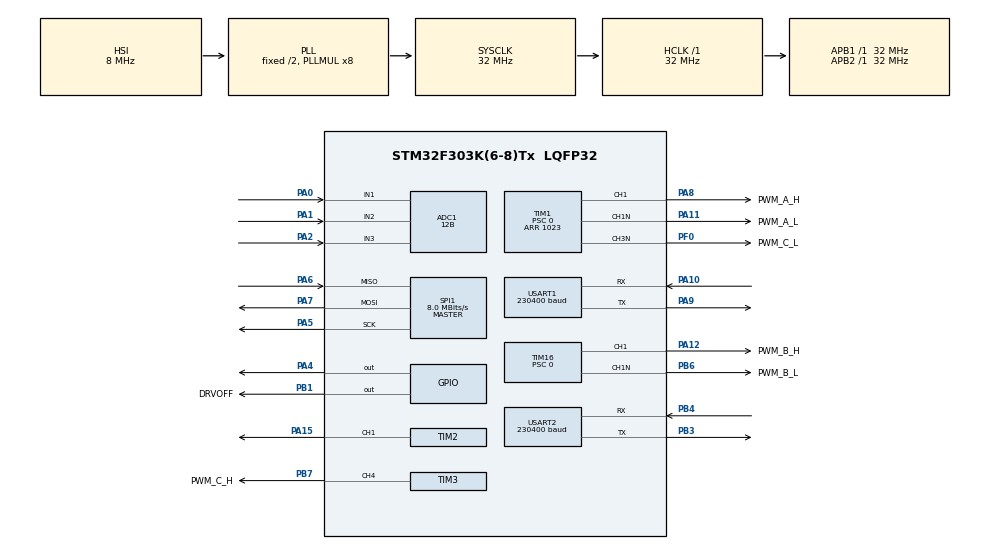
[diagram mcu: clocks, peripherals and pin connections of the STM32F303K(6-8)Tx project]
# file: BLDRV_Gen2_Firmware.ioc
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ADC1.Channel-2\#ChannelRegularConversion=ADC_CHANNEL_1
ADC1.Channel-3\#ChannelRegularConversion=ADC_CHANNEL_1
ADC1.Channel-5\#ChannelRegularConversion=ADC_CHANNEL_1
ADC1.ClockPrescaler=ADC_CLOCK_SYNC_PCLK_DIV4
ADC1.ContinuousConvMode=ENABLE
ADC1.DMAContinuousRequests=ENABLE
ADC1.EOCSelection=ADC_EOC_SINGLE_CONV
ADC1.InjNumberOfConversion=0
ADC1.NbrOfConversion=3
ADC1.NbrOfConversionFlag=1
ADC1.Offset-2\#ChannelRegularConversion=0
ADC1.Offset-3\#ChannelRegularConversion=0
ADC1.Offset-5\#ChannelRegularConversion=0
ADC1.OffsetNumber-2\#ChannelRegularConversion=ADC_OFFSET_NONE
ADC1.OffsetNumber-3\#ChannelRegularConversion=ADC_OFFSET_NONE
ADC1.OffsetNumber-5\#ChannelRegularConversion=ADC_OFFSET_NONE
ADC1.Rank-2\#ChannelRegularConversion=1
ADC1.Rank-3\#ChannelRegularConversion=2
ADC1.Rank-5\#ChannelRegularConversion=3
ADC1.Resolution=ADC_RESOLUTION_12B
ADC1.SamplingTime-2\#ChannelRegularConversion=ADC_SAMPLETIME_19CYCLES_5
ADC1.SamplingTime-3\#ChannelRegularConversion=ADC_SAMPLETIME_19CYCLES_5
ADC1.SamplingTime-5\#ChannelRegularConversion=ADC_SAMPLETIME_19CYCLES_5
ADC1.SamplingTimeOPAMP-3\#ChannelRegularConversion=ADC_SAMPLETIME_19CYCLES_5
ADC1.SamplingTimeOPAMP-5\#ChannelRegularConversion=ADC_SAMPLETIME_4CYCLES_5
ADC1.SubFamily=STM32F303x8
ADC1.master=1
Dma.ADC1.2.Direction=DMA_PERIPH_TO_MEMORY
Dma.ADC1.2.Instance=DMA1_Channel1
Dma.ADC1.2.MemDataAlignment=DMA_MDATAALIGN_BYTE
Dma.ADC1.2.MemInc=DMA_MINC_ENABLE
Dma.ADC1.2.Mode=DMA_CIRCULAR
Dma.ADC1.2.PeriphDataAlignment=DMA_PDATAALIGN_BYTE
Dma.ADC1.2.PeriphInc=DMA_PINC_DISABLE
Dma.ADC1.2.Priority=DMA_PRIORITY_LOW
Dma.Request0=USART1_RX
Dma.Request1=USART1_TX
Dma.Request2=ADC1
Dma.Request3=USART2_RX
Dma.Request4=USART2_TX
Dma.USART1_RX.0.Direction=DMA_PERIPH_TO_MEMORY
Dma.USART1_RX.0.Instance=DMA1_Channel5
Dma.USART1_RX.0.MemDataAlignment=DMA_MDATAALIGN_BYTE
Dma.USART1_RX.0.MemInc=DMA_MINC_ENABLE
Dma.USART1_RX.0.Mode=DMA_CIRCULAR
Dma.USART1_RX.0.PeriphDataAlignment=DMA_PDATAALIGN_BYTE
Dma.USART1_RX.0.PeriphInc=DMA_PINC_DISABLE
Dma.USART1_RX.0.Priority=DMA_PRIORITY_HIGH
Dma.USART1_TX.1.Direction=DMA_MEMORY_TO_PERIPH
Dma.USART1_TX.1.Instance=DMA1_Channel4
Dma.USART1_TX.1.MemDataAlignment=DMA_MDATAALIGN_BYTE
Dma.USART1_TX.1.MemInc=DMA_MINC_ENABLE
Dma.USART1_TX.1.Mode=DMA_NORMAL
Dma.USART1_TX.1.PeriphDataAlignment=DMA_PDATAALIGN_BYTE
Dma.USART1_TX.1.PeriphInc=DMA_PINC_DISABLE
Dma.USART1_TX.1.Priority=DMA_PRIORITY_HIGH
Dma.USART2_RX.3.Direction=DMA_PERIPH_TO_MEMORY
Dma.USART2_RX.3.Instance=DMA1_Channel6
Dma.USART2_RX.3.MemDataAlignment=DMA_MDATAALIGN_BYTE
Dma.USART2_RX.3.MemInc=DMA_MINC_ENABLE
Dma.USART2_RX.3.Mode=DMA_CIRCULAR
Dma.USART2_RX.3.PeriphDataAlignment=DMA_PDATAALIGN_BYTE
Dma.USART2_RX.3.PeriphInc=DMA_PINC_DISABLE
Dma.USART2_RX.3.Priority=DMA_PRIORITY_HIGH
Dma.USART2_TX.4.Direction=DMA_MEMORY_TO_PERIPH
Dma.USART2_TX.4.Instance=DMA1_Channel7
Dma.USART2_TX.4.MemDataAlignment=DMA_MDATAALIGN_BYTE
Dma.USART2_TX.4.MemInc=DMA_MINC_ENABLE
Dma.USART2_TX.4.Mode=DMA_NORMAL
Dma.USART2_TX.4.PeriphDataAlignment=DMA_PDATAALIGN_BYTE
Dma.USART2_TX.4.PeriphInc=DMA_PINC_DISABLE
Dma.USART2_TX.4.Priority=DMA_PRIORITY_HIGH
Mcu.Family=STM32F3
Mcu.Name=STM32F303K(6-8)Tx
Mcu.Package=LQFP32
NVIC.DMA1_Channel1_IRQn=true\:0\:0\:false\:false\:true\:false\:true\:true
NVIC.DMA1_Channel4_IRQn=true\:0\:0\:false\:false\:true\:false\:true\:true
NVIC.DMA1_Channel5_IRQn=true\:0\:0\:false\:false\:true\:false\:true\:true
NVIC.DMA1_Channel6_IRQn=true\:0\:0\:false\:false\:true\:false\:true\:true
NVIC.DMA1_Channel7_IRQn=true\:0\:0\:false\:false\:true\:false\:true\:true
NVIC.PriorityGroup=NVIC_PRIORITYGROUP_4
NVIC.TIM2_IRQn=true\:0\:0\:false\:false\:true\:true\:true\:true
NVIC.USART1_IRQn=true\:0\:0\:false\:false\:true\:true\:true\:true
NVIC.USART2_IRQn=true\:0\:0\:false\:false\:true\:true\:true\:true
PA0.Mode=IN1-Single-Ended
PA0.Signal=ADC1_IN1
PA1.Mode=IN2-Single-Ended
PA1.Signal=ADC1_IN2
PA10.Mode=Asynchronous
PA10.Signal=USART1_RX
PA11.GPIO_Label=PWM_A_L
PA11.GPIO_Speed=GPIO_SPEED_FREQ_HIGH
PA11.Mode=PWM Generation1 CH1 CH1N
PA11.Signal=TIM1_CH1N
PA12.GPIO_Label=PWM_B_H
PA12.GPIO_Speed=GPIO_SPEED_FREQ_HIGH
PA12.Signal=S_TIM16_CH1
PA13.GPIO_Label=SWDIO
PA13.Mode=Serial_Wire
PA13.Signal=SYS_JTMS-SWDIO
PA14.GPIO_Label=SWCLK
PA14.Mode=Serial_Wire
PA14.Signal=SYS_JTCK-SWCLK
PA15.Signal=S_TIM2_CH1_ETR
PA2.Mode=IN3-Single-Ended
PA2.Signal=ADC1_IN3
PA4.Signal=GPIO_Output
PA5.Mode=Full_Duplex_Master
PA5.Signal=SPI1_SCK
PA6.Mode=Full_Duplex_Master
PA6.Signal=SPI1_MISO
PA7.Mode=Full_Duplex_Master
PA7.Signal=SPI1_MOSI
PA8.GPIO_Label=PWM_A_H
PA8.GPIO_Speed=GPIO_SPEED_FREQ_HIGH
PA8.Signal=S_TIM1_CH1
PA9.Mode=Asynchronous
PA9.Signal=USART1_TX
PB1.GPIO_Label=DRVOFF
PB1.Signal=GPIO_Output
PB3.Mode=Asynchronous
PB3.Signal=USART2_TX
PB4.Mode=Asynchronous
PB4.Signal=USART2_RX
PB6.GPIO_FM6=SYSCFG_CFGR1_I2C_PB6_FMP
PB6.GPIO_Label=PWM_B_L
PB6.GPIO_Speed=GPIO_SPEED_FREQ_HIGH
PB6.Mode=PWM Generation1 CH1 CH1N
PB6.Signal=TIM16_CH1N
PB7.GPIO_Label=PWM_C_H
PB7.Signal=S_TIM3_CH4
PF0\ /\ OSC_IN.GPIO_Label=PWM_C_L
PF0\ /\ OSC_IN.GPIO_Speed=GPIO_SPEED_FREQ_HIGH
PF0\ /\ OSC_IN.Mode=PWM Generation3 CH3N
PF0\ /\ OSC_IN.Signal=TIM1_CH3N
ProjectManager.HeapSize=0x200
ProjectManager.StackSize=0x400
ProjectManager.TargetToolchain=Makefile
RCC.AHBFreq_Value=32000000
RCC.APB1Freq_Value=32000000
RCC.APB1TimFreq_Value=32000000
RCC.APB2Freq_Value=32000000
RCC.APB2TimFreq_Value=32000000
RCC.CortexFreq_Value=32000000
RCC.HCLKFreq_Value=32000000
RCC.HSE_VALUE=8000000
RCC.HSI_VALUE=8000000
RCC.PLLMUL=RCC_PLL_MUL8
RCC.SYSCLKFreq_VALUE=32000000
RCC.SYSCLKSourceVirtual=RCC_SYSCLKSOURCE_PLLCLK
SH.S_TIM16_CH1.0=TIM16_CH1,PWM Generation1 CH1 CH1N
SH.S_TIM1_CH1.0=TIM1_CH1,PWM Generation1 CH1 CH1N
SH.S_TIM2_CH1_ETR.0=TIM2_CH1,PWM Generation1 CH1
SH.S_TIM3_CH4.0=TIM3_CH4,PWM Generation4 CH4
SPI1.BaudRatePrescaler=SPI_BAUDRATEPRESCALER_4
SPI1.CLKPhase=SPI_PHASE_2EDGE
SPI1.CLKPolarity=SPI_POLARITY_HIGH
SPI1.CalculateBaudRate=8.0 MBits/s
SPI1.DataSize=SPI_DATASIZE_16BIT
SPI1.Direction=SPI_DIRECTION_2LINES
SPI1.Mode=SPI_MODE_MASTER
SPI1.VirtualType=VM_MASTER
TIM1.Channel-PWM\ Generation1\ CH1\ CH1N=TIM_CHANNEL_1
TIM1.Channel-PWM\ Generation3\ CH3N=TIM_CHANNEL_3
TIM1.CounterMode=TIM_COUNTERMODE_UP
TIM1.OCFastMode_PWM-PWM\ Generation1\ CH1\ CH1N=TIM_OCFAST_ENABLE
TIM1.OCFastMode_PWM-PWM\ Generation3\ CH3N=TIM_OCFAST_ENABLE
TIM1.OCMode_PWM-PWM\ Generation1\ CH1\ CH1N=TIM_OCMODE_ASSYMETRIC_PWM1
TIM1.OCNPolarity_1=TIM_OCNPOLARITY_HIGH
TIM1.OCNPolarity_3=TIM_OCNPOLARITY_LOW
TIM1.Period=1023
TIM1.Prescaler=0
TIM1.TIM_MasterOutputTrigger=TIM_TRGO_UPDATE
TIM1.TIM_MasterSlaveMode=TIM_MASTERSLAVEMODE_ENABLE
TIM16.Channel=TIM_CHANNEL_1
TIM16.OCFastMode_PWM=TIM_OCFAST_ENABLE
TIM16.OCNPolarity_1=TIM_OCNPOLARITY_HIGH
TIM16.Period=1023
TIM16.Prescaler=0
TIM2.Channel-PWM\ Generation1\ CH1=TIM_CHANNEL_1
TIM2.CounterMode=TIM_COUNTERMODE_UP
TIM2.OCFastMode_PWM-PWM\ Generation1\ CH1=TIM_OCFAST_DISABLE
TIM2.Period=999
TIM2.Prescaler=3
TIM2.TIM_MasterSlaveMode=TIM_MASTERSLAVEMODE_DISABLE
TIM3.Channel-PWM\ Generation4\ CH4=TIM_CHANNEL_4
TIM3.CounterMode=TIM_COUNTERMODE_UP
TIM3.OCFastMode_PWM-PWM\ Generation4\ CH4=TIM_OCFAST_ENABLE
TIM3.Period=1023
TIM3.Prescaler=0
TIM3.TIM_MasterSlaveMode=TIM_MASTERSLAVEMODE_DISABLE
USART1.BaudRate=230400
USART1.VirtualMode-Asynchronous=VM_ASYNC
USART2.BaudRate=230400
USART2.VirtualMode-Asynchronous=VM_ASYNC
VP_TIM16_VS_ClockSourceINT.Mode=Enable_Timer
VP_TIM3_VS_ClockSourceITR.Mode=TriggerSource_ITR0
VP_TIM3_VS_ControllerModeTrigger.Mode=Trigger Mode
board=NUCLEO-F303K8

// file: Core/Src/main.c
/* USER CODE BEGIN Header */
/**
 ******************************************************************************
 * @file           : main.c
 * @brief          : Main program body
 ******************************************************************************
 * @attention
 *
 * Copyright (c) 2024 STMicroelectronics.
 * All rights reserved.
 *
 * This software is licensed under terms that can be found in the LICENSE file
 * in the root directory of this software component.
 * If no LICENSE file comes with this software, it is provided AS-IS.
 *
 ******************************************************************************
 */
/* USER CODE END Header */
#include "main.h"
#include "adc.h"
#include "dma.h"
#include "spi.h"
#include "tim.h"
#include "usart.h"
#include "gpio.h"

/* USER CODE BEGIN Includes */
#include <math.h>
#include <stdio.h>

#include "dma_printf.h"
/* USER CODE END Includes */

/* USER CODE BEGIN PD */
#define radians(x) ((x) * 3.14159265358979323846 / 180.0)

#define CS_LOW() HAL_GPIO_WritePin(GPIOA, GPIO_PIN_4, GPIO_PIN_RESET)
#define CS_HIGH() HAL_GPIO_WritePin(GPIOA, GPIO_PIN_4, GPIO_PIN_SET)
/* USER CODE END PD */

void SystemClock_Config(void);

/* USER CODE BEGIN 0 */
#define AS5048A_ANGLE 0x3FFF

uint8_t spiCalcEvenParity(uint16_t value) {
    uint8_t cnt = 0;
    for (uint8_t i = 0; i < 16; i++) {
        if (value & 0x1) {
            cnt++;
        }
        value >>= 1;
    }
    return cnt & 0x1;
}

uint16_t AS5048A_read(uint16_t registerAddress) {
    uint16_t command = 0x4000 | registerAddress;

    // パリティビットの追加
    command |= spiCalcEvenParity(command) << 15;

    uint16_t response = 0;

    // SPI通信開始
    CS_LOW();
    HAL_SPI_Transmit(&hspi1, (uint8_t *)&command, 1, HAL_MAX_DELAY);
    CS_HIGH();

    // データ受信
    CS_LOW();
    HAL_SPI_Receive(&hspi1, (uint8_t *)&response, 1, HAL_MAX_DELAY);
    CS_HIGH();

    // エラービットの確認（必要に応じて実装）
    if (response & 0x4000) {
        // エラー処理
    }

    return response & 0x3FFF;  // データ部分のみ返す
}

int offset = 0;
int16_t getRotation() {
    uint16_t data = AS5048A_read(AS5048A_ANGLE);
    int16_t rotation = (int16_t)data;
    return rotation;
}

// 電気角
uint16_t electrical_angle(int16_t real_angle) {
    uint32_t rotation = real_angle;

    // 7回で一回転
    rotation %= 1170;

    return (uint16_t)rotation;
}

float cos_table[1170];

void setPhase(uint16_t phase, uint16_t pwm_pwr) {
    uint16_t sinwave[3];

    pwm_pwr = pwm_pwr > 320 ? 320 : pwm_pwr;

    sinwave[0] = pwm_pwr + pwm_pwr * cos_table[(phase + 0) % 1170];
    sinwave[1] = pwm_pwr + pwm_pwr * cos_table[(phase + 780) % 1170];
    sinwave[2] = pwm_pwr + pwm_pwr * cos_table[(phase + 390) % 1170];

    // A相
    __HAL_TIM_SET_COMPARE(&htim1, TIM_CHANNEL_1, sinwave[0]);

    // B相
    __HAL_TIM_SET_COMPARE(&htim16, TIM_CHANNEL_1, sinwave[1]);

    // C相
    __HAL_TIM_SET_COMPARE(&htim3, TIM_CHANNEL_4, sinwave[2]);
    __HAL_TIM_SET_COMPARE(&htim1, TIM_CHANNEL_3, sinwave[2]);
}

void setVoltage(float a, float b, float c) {
    float batt_voltage = 17;  // バッテリー電圧

    // 電圧値を 0-1023 の範囲にマッピングする
    // 電圧 a, b, c をバッテリー電圧で正規化し、0〜1023の範囲にスケーリング
    int int_a = (int)((a / batt_voltage) * 1023) + 512;
    int int_b = (int)((b / batt_voltage) * 1023) + 512;
    int int_c = (int)((c / batt_voltage) * 1023) + 512;

    // clip [ 100, 900 ]
    int clip_low = 200;
    int clip_high = 800;

    int_a = int_a < clip_low ? clip_low : int_a;
    int_a = int_a > clip_high ? clip_high : int_a;

    int_b = int_b < clip_low ? clip_low : int_b;
    int_b = int_b > clip_high ? clip_high : int_b;

    int_c = int_c < clip_low ? clip_low : int_c;
    int_c = int_c > clip_high ? clip_high : int_c;

    // PWM信号を各チャネルに設定
    // A相
    __HAL_TIM_SET_COMPARE(&htim1, TIM_CHANNEL_1, int_a);

    // B相
    __HAL_TIM_SET_COMPARE(&htim16, TIM_CHANNEL_1, int_b);

    // C相
    __HAL_TIM_SET_COMPARE(&htim3, TIM_CHANNEL_4, int_c);
    __HAL_TIM_SET_COMPARE(&htim1, TIM_CHANNEL_3, int_c);
}

char *uint2char(uint16_t num) {
    static char str[5];
    str[0] = num / 1000 + '0';
    str[1] = (num % 1000) / 100 + '0';
    str[2] = (num % 100) / 10 + '0';
    str[3] = num % 10 + '0';
    str[4] = '\0';

    return str;
}

uint16_t adcBuffer[3];  // PA0, PA1, PA2の3つのチャンネル分のデータ
uint16_t adcOffset[3];  // オフセット値

float sense[3];
void senseOut() {
    float _sense[3];
    _sense[0] = 0.995832 * (adcBuffer[0] - 2048) -
                0.028199 * (adcBuffer[1] - 2048) -
                0.014988 * (adcBuffer[2] - 2048);

    _sense[1] = 0.037737 * (adcBuffer[0] - 2048) +
                1.007723 * (adcBuffer[1] - 2048) -
                0.033757 * (adcBuffer[2] - 2048);

    _sense[2] = -0.014988 * (adcBuffer[0] - 2048) -
                0.028199 * (adcBuffer[1] - 2048) +
                0.995832 * (adcBuffer[2] - 2048);

    float gain = 1.2;
    float scaleFactor = 3.3 / 4096.0;

    _sense[0] = (_sense[0] * scaleFactor) / gain;
    _sense[1] = (_sense[1] * scaleFactor) / gain;
    _sense[2] = (_sense[2] * scaleFactor) / gain;

    // 　ローパスフィルタ
    const float alpha = 1.0;
    // sense[0] = (1.0 - alpha) * sense[0] + alpha * _sense[0];
    // sense[1] = (1.0 - alpha) * sense[1] + alpha * _sense[1];
    // sense[2] = (1.0 - alpha) * sense[2] + alpha * _sense[2];

    sense[0] = _sense[0];
    sense[1] = _sense[1];
    sense[2] = _sense[2];

    // sense_A += 0.5;
    // sense_B += 0.45;
    // sense_C += 0.33;
}

short velocity = 0;
const uint8_t pre_scaler = 3;
int16_t velocity_ref = 0;

int16_t pwm = 0;

const uint8_t id = 1;
uint8_t isReleased = 1;
/* USER CODE END 0 */

int main(void) {

    /* MCU
     * Configuration--------------------------------------------------------*/

    /* Reset of all peripherals, Initializes the Flash interface and the
     * Systick. */
    HAL_Init();

    /* Configure the system clock */
    SystemClock_Config();

    /* Initialize all configured peripherals */
    MX_GPIO_Init();
    MX_DMA_Init();
    MX_TIM1_Init();
    MX_TIM16_Init();
    MX_TIM2_Init();
    MX_TIM3_Init();
    MX_SPI1_Init();
    MX_USART1_UART_Init();
    MX_ADC1_Init();
    MX_USART2_UART_Init();
    /* USER CODE BEGIN 2 */
    setbuf(stdin, NULL);
    setbuf(stdout, NULL);
    setbuf(stderr, NULL);
    dma_printf_init(&huart1);
    // dma_scanf_init(&huart1);

    // A相
    HAL_TIM_PWM_Start(&htim1, TIM_CHANNEL_1);     // H
    HAL_TIMEx_PWMN_Start(&htim1, TIM_CHANNEL_1);  // L

    // B相
    HAL_TIM_PWM_Start(&htim16, TIM_CHANNEL_1);     // H
    HAL_TIMEx_PWMN_Start(&htim16, TIM_CHANNEL_1);  // L

    // C相
    HAL_TIM_PWM_Start(&htim3, TIM_CHANNEL_4);     // H
    HAL_TIMEx_PWMN_Start(&htim1, TIM_CHANNEL_3);  // L

    // デバッグ用LED
    // HAL_TIM_PWM_Start(&htim2, TIM_CHANNEL_1);

    // タイマー用

    // DRVOFF
    HAL_GPIO_WritePin(GPIOB, GPIO_PIN_1, GPIO_PIN_RESET);

    HAL_ADCEx_Calibration_Start(&hadc1, ADC_SINGLE_ENDED);

    if (HAL_ADC_Start_DMA(&hadc1, (uint32_t *)adcBuffer, 3) == HAL_OK)
        printf("Start ADC Successfully\n\r");
    else
        printf("Start ADC failed\n\r");
    /* USER CODE END 2 */

    /* Infinite loop */
    /* USER CODE BEGIN WHILE */

    for (int i = 0; i < 1170; i++) {
        cos_table[i] = cos(radians(i * 360.0 / 1170.0));
    }

    // dma_printf_puts("BLDRV Gen2\r\n");
    // dma_printf_puts("Calibration Start\r\n");
    // setPhase(0, 100);
    // HAL_Delay(1000);

    // offset = getRotation();  // なんか3回いる
    // offset = getRotation();
    // dma_printf_puts("Offset: ");
    // dma_printf_puts(uint2char(offset));
    // dma_printf_puts("\r\n");
    // dma_printf_puts("Calibration End\r\n");

    // while (1) {
    // }
    // offset = 4354;  // 1
    offset = 7869;  // 2
    // offset = 3270;  // 3
    // offset = 6116;  // 4

    HAL_TIM_Base_Start_IT(&htim2);

    uint8_t ring_buf[4] = {0};
    ring_buf[0] = 0B00000000;
    ring_buf[1] = 0B10000000;
    ring_buf[2] = 0B00000000;
    ring_buf[3] = 0B10000000;

    HAL_UART_Receive_DMA(&huart2, ring_buf, 4);

    ring_buf[0] = 0B00000000;
    ring_buf[1] = 0B10000000;
    ring_buf[2] = 0B00000000;
    ring_buf[3] = 0B10000000;

    while (!(ring_buf[0] == 0B11111111 || ring_buf[1] == 0B11111111 ||
             ring_buf[2] == 0B11111111 || ring_buf[3] == 0B11111111)) {
        printf("waiting\t%d\t%d\n", ring_buf[0], ring_buf[1]);
    }

    printf("start\n");

    while (1) {
        /* USER CODE END WHILE */

        /* USER CODE BEGIN 3 */

        printf("ref,pwm,real:%d\t%d\t%d\n", velocity_ref, pwm, velocity);

        uint8_t index = 0;
        for (int i = 0; i < 4; i++) {
            if (ring_buf[i] >> 7 == id) {
                index = i;

                if (ring_buf[index] != 0B11111111) {
                    break;
                }
            }
        }

        int8_t _ref = ((ring_buf[index] & 0x7F) << 1);

        if (_ref < -120) {
            isReleased = 1;
        } else {
            isReleased = 0;
        }

        velocity_ref = _ref * 2;

        // printf("%d\t%d\t%d\t%d\n", ring_buf[0], ring_buf[1], _ref,
        // velocity_ref); printf("%d\n", _ref);
    }
    /* USER CODE END 3 */
}

void SystemClock_Config(void) {
    RCC_OscInitTypeDef RCC_OscInitStruct = {0};
    RCC_ClkInitTypeDef RCC_ClkInitStruct = {0};
    RCC_PeriphCLKInitTypeDef PeriphClkInit = {0};

    /** Initializes the RCC Oscillators according to the specified parameters
     * in the RCC_OscInitTypeDef structure.
     */
    RCC_OscInitStruct.OscillatorType = RCC_OSCILLATORTYPE_HSI;
    RCC_OscInitStruct.HSIState = RCC_HSI_ON;
    RCC_OscInitStruct.HSICalibrationValue = RCC_HSICALIBRATION_DEFAULT;
    RCC_OscInitStruct.PLL.PLLState = RCC_PLL_ON;
    RCC_OscInitStruct.PLL.PLLSource = RCC_PLLSOURCE_HSI;
    RCC_OscInitStruct.PLL.PLLMUL = RCC_PLL_MUL8;
    if (HAL_RCC_OscConfig(&RCC_OscInitStruct) != HAL_OK) {
        Error_Handler();
    }

    /** Initializes the CPU, AHB and APB buses clocks
     */
    RCC_ClkInitStruct.ClockType = RCC_CLOCKTYPE_HCLK | RCC_CLOCKTYPE_SYSCLK |
                                  RCC_CLOCKTYPE_PCLK1 | RCC_CLOCKTYPE_PCLK2;
    RCC_ClkInitStruct.SYSCLKSource = RCC_SYSCLKSOURCE_PLLCLK;
    RCC_ClkInitStruct.AHBCLKDivider = RCC_SYSCLK_DIV1;
    RCC_ClkInitStruct.APB1CLKDivider = RCC_HCLK_DIV1;
    RCC_ClkInitStruct.APB2CLKDivider = RCC_HCLK_DIV1;

    if (HAL_RCC_ClockConfig(&RCC_ClkInitStruct, FLASH_LATENCY_1) != HAL_OK) {
        Error_Handler();
    }
    PeriphClkInit.PeriphClockSelection =
        RCC_PERIPHCLK_USART1 | RCC_PERIPHCLK_TIM1;
    PeriphClkInit.Usart1ClockSelection = RCC_USART1CLKSOURCE_PCLK1;
    PeriphClkInit.Tim1ClockSelection = RCC_TIM1CLK_HCLK;
    if (HAL_RCCEx_PeriphCLKConfig(&PeriphClkInit) != HAL_OK) {
        Error_Handler();
    }
}

/* USER CODE BEGIN 4 */
void HAL_UART_TxCpltCallback(UART_HandleTypeDef *huart) {
    dma_printf_send_it(huart);
}
int __io_putchar(int ch) {
    dma_printf_putc(ch & 0xFF);
    return ch;
}

int __io_getchar(void) {
    return dma_scanf_getc_blocking();
}

void HAL_TIM_PeriodElapsedCallback(TIM_HandleTypeDef *htim) {
    if (htim == &htim2) {
        short real_angle = getRotation() - offset;
        real_angle += 8192;
        real_angle %= 8192;
        uint16_t rotation = electrical_angle(real_angle);

        static uint8_t count = 0;
        if (32 / (pre_scaler + 1) == count) {
            count = 0;

            static short old_real_angle = 0;

            velocity = real_angle - old_real_angle;
            if (velocity > 4096) {
                velocity -= 8192;
            } else if (velocity < -4096) {
                velocity += 8192;
            }

            old_real_angle = real_angle;
        }
        count++;

        static int32_t err_vel = 0;
        static int32_t int_err_vel = 0;

        int32_t err = velocity_ref - velocity;
        int_err_vel += err;

        const float kp = 1.2;
        const float ki = 0.04;

        pwm = kp * err + ki * int_err_vel;

        const int max_int_err_vel = 7000;
        if (int_err_vel > max_int_err_vel) {
            int_err_vel = max_int_err_vel;
        } else if (int_err_vel < -max_int_err_vel) {
            int_err_vel = -max_int_err_vel;
        }

        const int max_pwm = 320;
        if (pwm > max_pwm) {
            pwm = max_pwm;
        } else if (pwm < -max_pwm) {
            pwm = -max_pwm;
        }

        if (pwm < 10 && pwm > -10) {
            pwm = 0;
        }

        if (isReleased) {
            pwm = 0;
        }

        if (pwm > 0) {
            setPhase((rotation + 292) % 1170, pwm);
        } else {
            setPhase((rotation + 877) % 1170, -pwm);
        }
    }
}

/* USER CODE END 4 */

void Error_Handler(void) {
    /* USER CODE BEGIN Error_Handler_Debug */
    /* User can add his own implementation to report the HAL error return state
     */
    __disable_irq();
    while (1) {
    }
    /* USER CODE END Error_Handler_Debug */
}

#ifdef USE_FULL_ASSERT
/**
 * @brief  Reports the name of the source file and the source line number
 *         where the assert_param error has occurred.
 * @param  file: pointer to the source file name
 * @param  line: assert_param error line source number
 * @retval None
 */
void assert_failed(uint8_t *file, uint32_t line) {
    /* USER CODE BEGIN 6 */
    /* User can add his own implementation to report the file name and line
       number, ex: printf("Wrong parameters value: file %s on line %d\r\n",
       file, line) */
    /* USER CODE END 6 */
}
#endif /* USE_FULL_ASSERT */
